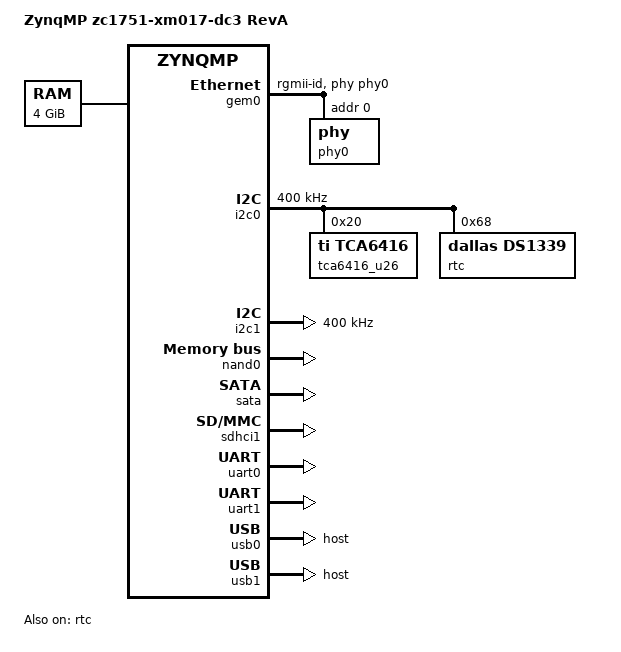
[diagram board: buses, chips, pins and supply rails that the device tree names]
// SPDX-License-Identifier: GPL-2.0+
/*
 * dts file for Xilinx ZynqMP zc1751-xm017-dc3
 *
 * (C) Copyright 2016 - 2018, Xilinx, Inc.
 *
 * Michal Simek <michal.simek@xilinx.com>
 */

/dts-v1/;

#include "zynqmp.dtsi"
#include "zynqmp-clk-ccf.dtsi"

/ {
	model = "ZynqMP zc1751-xm017-dc3 RevA";
	compatible = "xlnx,zynqmp-zc1751", "xlnx,zynqmp";

	aliases {
		ethernet0 = &gem0;
		gpio0 = &gpio;
		i2c0 = &i2c0;
		i2c1 = &i2c1;
		mmc0 = &sdhci1;
		rtc0 = &rtc;
		serial0 = &uart0;
		serial1 = &uart1;
		usb0 = &usb0;
		usb1 = &usb1;
	};

	chosen {
		bootargs = "earlycon";
		stdout-path = "serial0:115200n8";
	};

	memory@0 {
		device_type = "memory";
		reg = <0x0 0x0 0x0 0x80000000>, <0x8 0x00000000 0x0 0x80000000>;
	};
};

&fpd_dma_chan1 {
	status = "okay";
};

&fpd_dma_chan2 {
	status = "okay";
};

&fpd_dma_chan3 {
	status = "okay";
};

&fpd_dma_chan4 {
	status = "okay";
};

&fpd_dma_chan5 {
	status = "okay";
};

&fpd_dma_chan6 {
	status = "okay";
};

&fpd_dma_chan7 {
	status = "okay";
};

&fpd_dma_chan8 {
	status = "okay";
};

&gem0 {
	status = "okay";
	phy-handle = <&phy0>;
	phy-mode = "rgmii-id";
	phy0: phy@0 { /* VSC8211 */
		reg = <0>;
	};
};

&gpio {
	status = "okay";
};

/* just eeprom here */
&i2c0 {
	status = "okay";
	clock-frequency = <400000>;

	tca6416_u26: gpio@20 {
		compatible = "ti,tca6416";
		reg = <0x20>;
		gpio-controller;
		#gpio-cells = <2>;
		/* IRQ not connected */
	};

	rtc@68 {
		compatible = "dallas,ds1339";
		reg = <0x68>;
	};
};

/* eeprom24c02 and SE98A temp chip pca9306 */
&i2c1 {
	status = "okay";
	clock-frequency = <400000>;
};

/* MT29F64G08AECDBJ4-6 */
&nand0 {
	status = "okay";
	arasan,has-mdma;
	num-cs = <2>;

	partition@0 {	/* for testing purpose */
		label = "nand-fsbl-uboot";
		reg = <0x0 0x0 0x400000>;
	};
	partition@1 {	/* for testing purpose */
		label = "nand-linux";
		reg = <0x0 0x400000 0x1400000>;
	};
	partition@2 {	/* for testing purpose */
		label = "nand-device-tree";
		reg = <0x0 0x1800000 0x400000>;
	};
	partition@3 {	/* for testing purpose */
		label = "nand-rootfs";
		reg = <0x0 0x1C00000 0x1400000>;
	};
	partition@4 {	/* for testing purpose */
		label = "nand-bitstream";
		reg = <0x0 0x3000000 0x400000>;
	};
	partition@5 {	/* for testing purpose */
		label = "nand-misc";
		reg = <0x0 0x3400000 0xFCC00000>;
	};

	partition@6 {	/* for testing purpose */
		label = "nand1-fsbl-uboot";
		reg = <0x1 0x0 0x400000>;
	};
	partition@7 {	/* for testing purpose */
		label = "nand1-linux";
		reg = <0x1 0x400000 0x1400000>;
	};
	partition@8 {	/* for testing purpose */
		label = "nand1-device-tree";
		reg = <0x1 0x1800000 0x400000>;
	};
	partition@9 {	/* for testing purpose */
		label = "nand1-rootfs";
		reg = <0x1 0x1C00000 0x1400000>;
	};
	partition@10 {	/* for testing purpose */
		label = "nand1-bitstream";
		reg = <0x1 0x3000000 0x400000>;
	};
	partition@11 {	/* for testing purpose */
		label = "nand1-misc";
		reg = <0x1 0x3400000 0xFCC00000>;
	};
};

&rtc {
	status = "okay";
};

&sata {
	status = "okay";
	/* SATA phy OOB timing settings */
	ceva,p0-cominit-params = /bits/ 8 <0x1B 0x4D 0x18 0x28>;
	ceva,p0-comwake-params = /bits/ 8 <0x06 0x19 0x08 0x0E>;
	ceva,p0-burst-params = /bits/ 8 <0x13 0x08 0x4A 0x06>;
	ceva,p0-retry-params = /bits/ 16 <0x96A4 0x3FFC>;
	ceva,p1-cominit-params = /bits/ 8 <0x1B 0x4D 0x18 0x28>;
	ceva,p1-comwake-params = /bits/ 8 <0x06 0x19 0x08 0x0E>;
	ceva,p1-burst-params = /bits/ 8 <0x13 0x08 0x4A 0x06>;
	ceva,p1-retry-params = /bits/ 16 <0x96A4 0x3FFC>;
};

&sdhci1 { /* emmc with some settings */
	status = "okay";
};

/* main */
&uart0 {
	status = "okay";
};

/* DB9 */
&uart1 {
	status = "okay";
};

&usb0 {
	status = "okay";
	dr_mode = "host";
};

/* ULPI SMSC USB3320 */
&usb1 {
	status = "okay";
	dr_mode = "host";
};
